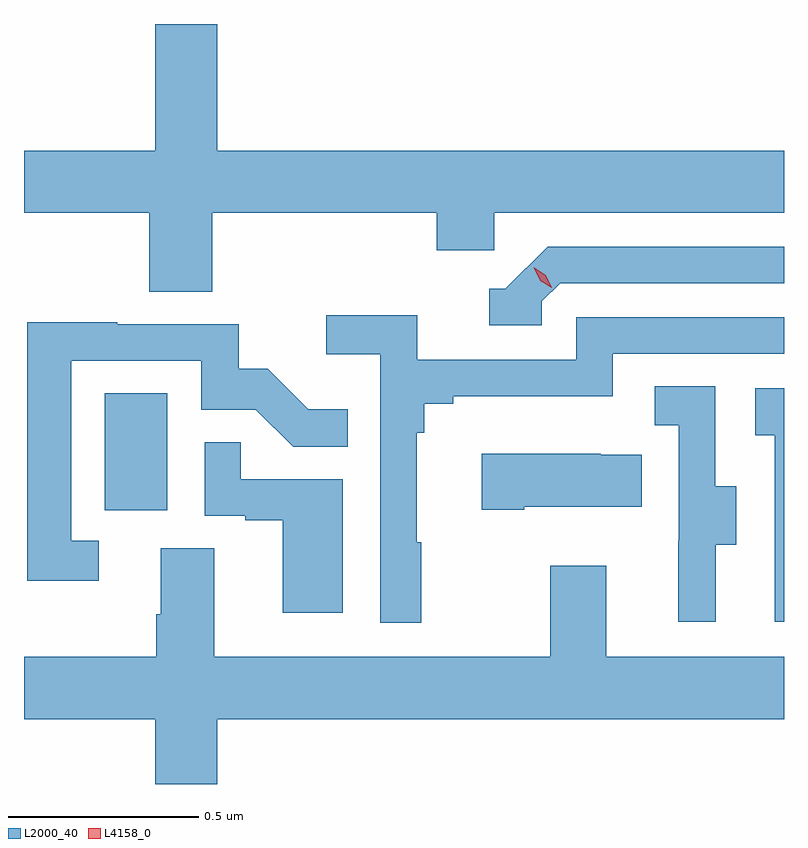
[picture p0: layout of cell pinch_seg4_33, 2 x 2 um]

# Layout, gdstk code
import gdstk
lib = gdstk.Library(unit=1e-6, precision=1e-09)
def R(c, l, rs):  # rectangles x0, y0, x1, y1
    for r in rs: c.add(gdstk.rectangle(r[:2], r[2:], *l))
def P(c, l, *ps):  # polygons
    for p in ps: c.add(gdstk.Polygon(p, *l))
L2000_40 = (2000, 40)
L4158_0 = (4158, 0)

pinch_seg4_33 = lib.new_cell('pinch_seg4_33')
R(pinch_seg4_33, L2000_40, [(1141.898,830.67,1142.062,830.977)])
P(pinch_seg4_33, L2000_40, [(1142.18,831.452),(1142.771,831.452),(1142.771,831.354),(1142.922,831.354),(1142.922,831.452),(1143.685,831.452),(1143.685,831.616),(1142.194,831.616),(1142.194,831.949),(1142.03,831.949),(1142.03,831.616),(1141.685,831.616),(1141.685,831.452),(1142.015,831.452),(1142.015,831.244),(1142.18,831.244)],
  [(1143.048,831.219),(1143.096,831.267),(1143.685,831.267),(1143.685,831.363),(1143.063,831.363),(1142.952,831.252),(1142.909,831.252),(1142.909,831.156),(1143.048,831.156)],
  [(1142.731,830.585),(1142.719,830.585),(1142.719,830.873),(1142.738,830.873),(1142.738,830.95),(1142.815,830.95),(1142.815,830.969),(1143.234,830.969),(1143.234,831.081),(1143.685,831.081),(1143.685,831.177),(1143.138,831.177),(1143.138,831.066),(1142.72,831.066),(1142.72,831.182),(1142.481,831.182),(1142.481,831.08),(1142.622,831.08),(1142.622,830.373),(1142.731,830.373)],
  [(1141.882,830.589),(1141.809,830.589),(1141.809,831.063),(1142.151,831.063),(1142.151,830.934),(1142.295,830.934),(1142.393,830.836),(1142.537,830.836),(1142.537,830.935),(1142.433,830.935),(1142.326,831.042),(1142.25,831.042),(1142.25,831.159),(1141.931,831.159),(1141.931,831.164),(1141.693,831.164),(1141.693,830.484),(1141.882,830.484)],
  [(1143.505,830.578),(1143.559,830.578),(1143.559,830.733),(1143.504,830.733),(1143.504,830.996),(1143.345,830.996),(1143.345,830.893),(1143.408,830.893),(1143.408,830.589),(1143.407,830.589),(1143.407,830.376),(1143.505,830.376)],
  [(1143.685,830.991),(1143.609,830.991),(1143.609,830.867),(1143.66,830.867),(1143.66,830.376),(1143.685,830.376)],
  [(1142.524,830.751),(1142.255,830.751),(1142.255,830.849),(1142.16,830.849),(1142.16,830.655),(1142.267,830.655),(1142.267,830.643),(1142.366,830.643),(1142.366,830.4),(1142.524,830.4)],
  [(1143.001,830.678),(1143.311,830.678),(1143.311,830.815),(1143.203,830.815),(1143.203,830.818),(1142.889,830.818),(1142.889,830.671),(1143.001,830.671)],
  [(1142.194,830.12),(1143.685,830.12),(1143.685,830.284),(1143.217,830.284),(1143.217,830.524),(1143.07,830.524),(1143.07,830.284),(1142.185,830.284),(1142.185,830.57),(1142.045,830.57),(1142.045,830.396),(1142.033,830.396),(1142.033,830.284),(1141.685,830.284),(1141.685,830.12),(1142.03,830.12),(1142.03,829.949),(1142.194,829.949)])
P(pinch_seg4_33, L4158_0, [(1143.074,831.255),(1143.043,831.274),(1143.027,831.307),(1143.027,831.308),(1143.028,831.308),(1143.058,831.288),(1143.074,831.255),(1143.074,831.255)])

lib.write_gds('pinch_seg4_33.gds')
